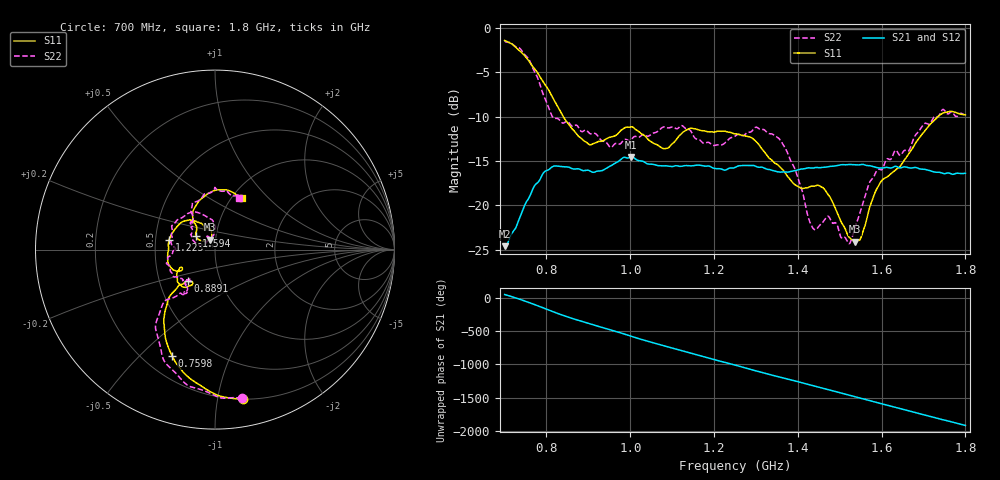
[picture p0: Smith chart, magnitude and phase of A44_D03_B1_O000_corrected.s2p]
! Created with skrf 1.9.0 (http://scikit-rf.org).
# Hz S RI R 50.0
!freq ReS11 ImS11 ReS21 ImS21 ReS12 ImS12 ReS22 ImS22
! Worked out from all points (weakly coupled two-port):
!   1601 points, 700 MHz to 1.8 GHz, reference 50 ohm
!   highest |S21| = -14.57 dB at 1.002 GHz (marker M1); lowest = -24.6 dB at 701.4 MHz (marker M2)
!   lowest |S11| = -24.1 dB at 1.537 GHz (marker M3), VSWR 1.13, Z = 46.9 + j5.17 ohm
!   |S11| at or under -10 dB: 840 MHz to 1.735 GHz (894.9 MHz wide, 69.5 % of centre)
!   |S22| runs from -24.3 to -1.5 dB; largest |S21 - S12| = 0.0035
!   S11 on the Smith chart (normalised r, x): 700 MHz: 0.20, -1.19; 759.8 MHz: 0.31, -0.63; 889.1 MHz: 0.70, -0.26; 1.223 GHz: 0.59, +0.07; 1.594 GHz: 0.80, +0.13; 1.8 GHz: 1.12, +0.71
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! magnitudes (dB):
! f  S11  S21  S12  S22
! 700 MHz  -1.4  -24.6  -24.4  -1.5
! 701.4 MHz  -1.5  -24.6  -24.2  -1.5
! 759.8 MHz  -3.9  -19.0  -18.9  -3.7
! 814.8 MHz  -7.9  -15.6  -15.7  -10.1
! 883.6 MHz  -12.5  -16.0  -15.9  -11.7
! 889.1 MHz  -12.7  -16.1  -16.0  -11.6
! 953 MHz  -12.3  -15.6  -15.6  -13.5
! 1.002 GHz  -11.2  -14.6  -14.7  -12.6
! 1.067 GHz  -13.3  -15.5  -15.5  -11.6
! 1.143 GHz  -11.3  -15.6  -15.5  -11.5
! 1.223 GHz  -11.6  -16.0  -16.0  -13.1
! 1.25 GHz  -12.0  -15.7  -15.7  -12.2
! 1.357 GHz  -15.7  -16.3  -16.2  -12.6
! 1.394 GHz  -17.7  -16.1  -16.1  -16.1
! 1.434 GHz  -17.8  -15.8  -15.8  -22.4
! 1.473 GHz  -18.8  -15.7  -15.7  -21.2
! 1.522 GHz  -23.6  -15.4  -15.4  -24.3
! 1.537 GHz  -24.1  -15.4  -15.4  -22.5
! 1.594 GHz  -17.6  -15.8  -15.8  -15.9
! 1.617 GHz  -16.7  -15.8  -15.7  -14.8
! 1.738 GHz  -9.9  -16.3  -16.3  -9.8
! 1.8 GHz  -9.8  -16.4  -16.4  -9.9
